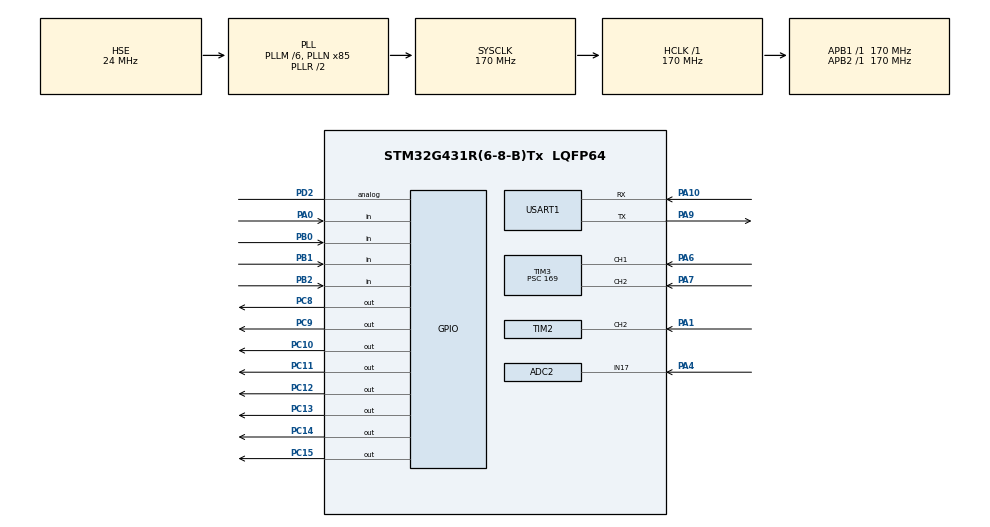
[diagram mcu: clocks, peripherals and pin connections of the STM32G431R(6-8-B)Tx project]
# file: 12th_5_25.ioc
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ADC2.Channel-0\#ChannelRegularConversion=ADC_CHANNEL_17
ADC2.NbrOfConversionFlag=1
ADC2.OffsetNumber-0\#ChannelRegularConversion=ADC_OFFSET_NONE
ADC2.Rank-0\#ChannelRegularConversion=1
ADC2.SamplingTime-0\#ChannelRegularConversion=ADC_SAMPLETIME_2CYCLES_5
Mcu.Family=STM32G4
Mcu.Name=STM32G431R(6-8-B)Tx
Mcu.Package=LQFP64
NVIC.PriorityGroup=NVIC_PRIORITYGROUP_4
NVIC.TIM1_UP_TIM16_IRQn=true\:0\:0\:false\:false\:true\:true\:true\:true
NVIC.TIM2_IRQn=true\:0\:0\:false\:false\:true\:true\:true\:true
NVIC.TIM3_IRQn=true\:0\:0\:false\:false\:true\:true\:true\:true
NVIC.USART1_IRQn=true\:0\:0\:false\:false\:true\:true\:true\:true
PA0.Signal=GPIO_Input
PA1.Signal=S_TIM2_CH2
PA10.Mode=Asynchronous
PA10.Signal=USART1_RX
PA4.Mode=IN17-Single-Ended
PA4.Signal=ADC2_IN17
PA6.Signal=S_TIM3_CH1
PA7.Signal=S_TIM3_CH2
PA9.Mode=Asynchronous
PA9.Signal=USART1_TX
PB0.Signal=GPIO_Input
PB1.Signal=GPIO_Input
PB2.Signal=GPIO_Input
PC10.Signal=GPIO_Output
PC11.Signal=GPIO_Output
PC12.Signal=GPIO_Output
PC13.Signal=GPIO_Output
PC14-OSC32_IN.Signal=GPIO_Output
PC15-OSC32_OUT.Signal=GPIO_Output
PC8.Signal=GPIO_Output
PC9.Signal=GPIO_Output
PD2.Signal=GPIO_Analog
PF0-OSC_IN.Mode=HSE-External-Oscillator
PF0-OSC_IN.Signal=RCC_OSC_IN
PF1-OSC_OUT.Mode=HSE-External-Oscillator
PF1-OSC_OUT.Signal=RCC_OSC_OUT
ProjectManager.HeapSize=0x200
ProjectManager.StackSize=0x400
ProjectManager.TargetToolchain=MDK-ARM V5.32
RCC.ADC12Freq_Value=170000000
RCC.AHBFreq_Value=170000000
RCC.APB1Freq_Value=170000000
RCC.APB1TimFreq_Value=170000000
RCC.APB2Freq_Value=170000000
RCC.APB2TimFreq_Value=170000000
RCC.CortexFreq_Value=170000000
RCC.EXTERNAL_CLOCK_VALUE=12288000
RCC.HCLKFreq_Value=170000000
RCC.HSE_VALUE=24000000
RCC.HSI48_VALUE=48000000
RCC.HSI_VALUE=16000000
RCC.LSE_VALUE=32768
RCC.PLLM=RCC_PLLM_DIV6
RCC.PLLN=85
RCC.PLLSourceVirtual=RCC_PLLSOURCE_HSE
RCC.SYSCLKFreq_VALUE=170000000
RCC.SYSCLKSource=RCC_SYSCLKSOURCE_PLLCLK
RCC.USBFreq_Value=170000000
RCC.VCOOutputFreq_Value=340000000
SH.S_TIM2_CH2.0=TIM2_CH2,Input_Capture2_from_TI2
SH.S_TIM3_CH1.0=TIM3_CH1,Input_Capture1_from_TI1
SH.S_TIM3_CH2.0=TIM3_CH2,Input_Capture2_from_TI2
TIM1.PeriodNoDither=9999
TIM1.Prescaler=169
TIM2.Channel-Input_Capture2_from_TI2=TIM_CHANNEL_2
TIM2.PeriodNoDither=65535
TIM2.Prescaler=169
TIM3.Channel-Input_Capture1_from_TI1=TIM_CHANNEL_1
TIM3.Channel-Input_Capture2_from_TI2=TIM_CHANNEL_2
TIM3.Prescaler=169
USART1.VirtualMode-Asynchronous=VM_ASYNC
VP_SYS_VS_DBSignals.Mode=DisableDeadBatterySignals
VP_TIM1_VS_ClockSourceINT.Mode=Internal
board=custom

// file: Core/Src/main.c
/* USER CODE BEGIN Header */
/**
  ******************************************************************************
  * @file           : main.c
  * @brief          : Main program body
  ******************************************************************************
  * @attention
  *
  * Copyright (c) 2023 STMicroelectronics.
  * All rights reserved.
  *
  * This software is licensed under terms that can be found in the LICENSE file
  * in the root directory of this software component.
  * If no LICENSE file comes with this software, it is provided AS-IS.
  *
  ******************************************************************************
  */
/* USER CODE END Header */
#include "main.h"
#include "adc.h"
#include "tim.h"
#include "usart.h"
#include "gpio.h"

/* USER CODE BEGIN Includes */
#include "lcd.h"
#include "stdio.h"
#include "string.h"
/* USER CODE END Includes */

/* USER CODE BEGIN PTD */
uint8_t line[10][21],	//LCD存字符
				Rx_buff//串口所接收字符
				;
char Trigger_mode='A',  //触发模式
		 Flag_interface=0,//LCD页面显示标志位
		 Key_state,//按键状态
		 Flag_ledproc;//LED控制标志位

float Angle_a,//角度
			Angle_b,//角度
			Voltage_pa4,//PA4所采集电压
			Angle_aa[5]={0},//角度a的近五次未排序角度
			Angle_bb[5]={0},//角度a的近五次未排序角度
			Angle_qa[5]={0},//角度a的近五次已排序角度
			Angle_qb[5]={0};//角度a的近五次已排序角度
int Key_presst[4]={0},//按键按下计数
		Angle_Pax=20,//角度变化量参数
		Angle_Pbx=20,//角度变化量参数
		Angle_ax,//角度变化量
		Angle_bx,//角度变化量
		Frequ_Pf=1000;//频率参数
/* USER CODE END PTD */

void SystemClock_Config(void);
/* USER CODE BEGIN PFP */

float Voltage_gethadc2(void)
{
	float Value;
	Value=HAL_ADC_GetValue(&hadc2);
	HAL_ADC_Start_IT(&hadc2);
	return Value*3.3f/4096;
}

uint16_t TIM3_IC1_Value1,TIM3_IC1_Value2;
uint16_t TIM3_IC1_High,TIM3_IC1_Low;
float TIM3_IC1_Duty;
uint8_t TIM3_IC1_Number;

uint16_t TIM3_IC2_Value1,TIM3_IC2_Value2;
uint16_t TIM3_IC2_High,TIM3_IC2_Low;
float TIM3_IC2_Duty;
uint8_t TIM3_IC2_Number;

uint32_t TIM2_IC2_Value1,TIM2_IC2_Value2;
uint32_t TIM2_IC2_Fre;
uint8_t TIM2_IC2_Number;
//void HAL_TIM_IC_CaptureCallback(TIM_HandleTypeDef *htim)
//{
//	if(htim==&htim3 && htim->Channel == HAL_TIM_ACTIVE_CHANNEL_1)
//	{
//		Frequ_pa6=__HAL_TIM_GetCounter(&htim3);
//		__HAL_TIM_SetCounter(&htim3,0);
//		HAL_TIM_IC_Start_IT(&htim3,TIM_CHANNEL_1);
//		Frequ_pa6=1000000/Frequ_pa6;
//	}
//
//	if(htim==&htim3 && htim->Channel == HAL_TIM_ACTIVE_CHANNEL_2)
//	{
//		Frequ_pa7=__HAL_TIM_GetCounter(&htim3);
//		__HAL_TIM_SetCounter(&htim3,0);
//		HAL_TIM_IC_Start_IT(&htim3,TIM_CHANNEL_2);
//		Frequ_pa7=1000000/Frequ_pa7;
//	}
//}

void HAL_TIM_IC_CaptureCallback(TIM_HandleTypeDef *htim)
{
    if(htim->Instance == TIM2)
    {
        if(htim->Channel == HAL_TIM_ACTIVE_CHANNEL_2)
        {
            if(TIM2_IC2_Number == 0)
            {
                TIM2_IC2_Value1 = __HAL_TIM_GET_COMPARE(htim,TIM_CHANNEL_2);
                TIM2_IC2_Number = 1;
            }
            else if(TIM2_IC2_Number == 1)
            {
                TIM2_IC2_Value2 = __HAL_TIM_GET_COMPARE(htim,TIM_CHANNEL_2);
                if(TIM2_IC2_Value1 > TIM2_IC2_Value2)
                    TIM2_IC2_Fre = 1000000 / ((0xFFFF - TIM2_IC2_Value1) + TIM2_IC2_Value2);
                else
                    TIM2_IC2_Fre = 1000000 / (TIM2_IC2_Value2 - TIM2_IC2_Value1);
                TIM2_IC2_Number = 0;
            }
        }
    }
    if(htim->Instance == TIM3)
    {
        if(htim->Channel == HAL_TIM_ACTIVE_CHANNEL_1)
        {
            if(TIM3_IC1_Number == 0)
            {
                TIM3_IC1_Value1 = __HAL_TIM_GET_COMPARE(htim,TIM_CHANNEL_1);
                __HAL_TIM_SET_CAPTUREPOLARITY(htim,TIM_CHANNEL_1,TIM_INPUTCHANNELPOLARITY_FALLING);
                TIM3_IC1_Number = 1;
            }
            else if(TIM3_IC1_Number == 1)
            {
                TIM3_IC1_Value2 = __HAL_TIM_GET_COMPARE(htim,TIM_CHANNEL_1);
                __HAL_TIM_SET_CAPTUREPOLARITY(htim,TIM_CHANNEL_1,TIM_INPUTCHANNELPOLARITY_RISING);
                if(TIM3_IC1_Value1 > TIM3_IC1_Value2)
                    TIM3_IC1_High = (0xFFFF - TIM3_IC1_Value1) + TIM3_IC1_Value2;
                else
                    TIM3_IC1_High = TIM3_IC1_Value2 - TIM3_IC1_Value1;
                TIM3_IC1_Value1 = TIM3_IC1_Value2;
                TIM3_IC1_Number = 2;
            }
            else if(TIM3_IC1_Number == 2)
            {
                TIM3_IC1_Value2 = __HAL_TIM_GET_COMPARE(htim,TIM_CHANNEL_1);
                if(TIM3_IC1_Value1 > TIM3_IC1_Value2)
                    TIM3_IC1_Low = (0xFFFF - TIM3_IC1_Value1) + TIM3_IC1_Value2;
                else
                    TIM3_IC1_Low = TIM3_IC1_Value2 - TIM3_IC1_Value1;
                TIM3_IC1_Duty = TIM3_IC1_High * 1.0 / (TIM3_IC1_High + TIM3_IC1_Low);
                TIM3_IC1_Number = 0;
            }
        }
        if(htim->Channel == HAL_TIM_ACTIVE_CHANNEL_2)
        {
            if(TIM3_IC2_Number == 0)
            {
                TIM3_IC2_Value1 = HAL_TIM_ReadCapturedValue(htim,TIM_CHANNEL_2);
                __HAL_TIM_SET_CAPTUREPOLARITY(htim,TIM_CHANNEL_2,TIM_INPUTCHANNELPOLARITY_FALLING);
                TIM3_IC2_Number = 1;
            }
            else if(TIM3_IC2_Number == 1)
            {
                TIM3_IC2_Value2 = HAL_TIM_ReadCapturedValue(htim,TIM_CHANNEL_2);
                __HAL_TIM_SET_CAPTUREPOLARITY(htim,TIM_CHANNEL_2,TIM_INPUTCHANNELPOLARITY_RISING);

                if(TIM3_IC2_Value1 > TIM3_IC2_Value2)
                    TIM3_IC2_High = (0xFFFF - TIM3_IC2_Value1) + TIM3_IC2_Value2;
                else
                    TIM3_IC2_High = TIM3_IC2_Value2 - TIM3_IC2_Value1;
                TIM3_IC2_Value1 = TIM3_IC2_Value2;
                TIM3_IC2_Number = 2;
            }
            else if(TIM3_IC2_Number == 2)
            {
                TIM3_IC2_Value2 = HAL_TIM_ReadCapturedValue(htim,TIM_CHANNEL_2);

                if(TIM3_IC2_Value1 > TIM3_IC2_Value2)
                    TIM3_IC2_Low = (0xFFFF - TIM3_IC2_Value1) + TIM3_IC2_Value2;
                else
                    TIM3_IC2_Low = TIM3_IC2_Value2 - TIM3_IC2_Value1;
                TIM3_IC2_Duty = TIM3_IC2_High * 1.0 / (TIM3_IC2_High + TIM3_IC2_Low);
                TIM3_IC2_Number = 0;
            }
        }
    }
}

//void Lcd_print(void)
//{
//	sprintf((char *)line[0],"     Voltage:%.2f     ",Voltage_gethadc2());
//	sprintf((char *)line[1]," Frequ_pa6:%dHz      ",Frequ_pa6);
//	sprintf((char *)line[2]," Frequ_pa7:%dHz      ",Frequ_pa7);
//	sprintf((char *)line[3],"TIM3_CH1_DUTY:%.2f   ",TIM3_IC1_Duty);
//	sprintf((char *)line[4],"TIM3IC1Value1:%d ",TIM3_IC1_Value1);
//
//	sprintf((char *)line[5],"TIM3_IC1_High:%d    ",TIM3_IC1_High);
//	sprintf((char *)line[6],"TIM3_IC1_Low:%d     ",TIM3_IC1_Low);
//	sprintf((char *)line[7],"TIM3_CH2_DUTY:%.2f   ",TIM3_IC2_Duty);
//	sprintf((char *)line[8],"TIM3IC1Value2:%d   ",TIM3_IC1_Value2);
//	sprintf((char *)line[9],"                    ");
//}

void Data_interface(void)
{
	sprintf((char *)line[0],"                    ");
	sprintf((char *)line[1],"        DATA        ");
	sprintf((char *)line[2],"   a:%.1f    %.2f    ",Angle_a,TIM3_IC1_Duty);
	sprintf((char *)line[3],"   b:%.1f    %.2f    ",Angle_b,TIM3_IC2_Duty);
	sprintf((char *)line[4],"   f:%dHz            ",TIM2_IC2_Fre);

	sprintf((char *)line[5],"                    ");
	sprintf((char *)line[6],"   ax:%d             ",Angle_ax);
	sprintf((char *)line[7],"   bx:%d             ",Angle_bx);
	sprintf((char *)line[8],"   mode:%c           ",Trigger_mode);
	sprintf((char *)line[9],"                    ");
}

void Parameter_interface(void)
{
	sprintf((char *)line[0],"                    ");
	sprintf((char *)line[1],"        PARA        ");
	sprintf((char *)line[2],"   Pax:%d            ",Angle_Pax);
	sprintf((char *)line[3],"   Pbx:%d            ",Angle_Pbx);
	sprintf((char *)line[4],"   Pf:%d             ",Frequ_Pf);

	sprintf((char *)line[5],"                    ");
	sprintf((char *)line[6],"                    ");
	sprintf((char *)line[7],"                    ");
	sprintf((char *)line[8],"                    ");
	sprintf((char *)line[9],"                    ");
}

void Lcd_dis(void)
{
	for(int i=0;i<10;i++)
	LCD_DisplayStringLine(i*24,line[i]);
//	LCD_DisplayStringLine(0,line[3]);
}

char Key_scan(void)
{
	if(HAL_GPIO_ReadPin(GPIOB,GPIO_PIN_0)==0)Key_presst[0]++;
	else if(HAL_GPIO_ReadPin(GPIOB,GPIO_PIN_0)==1 && Key_presst[0]>=5){Key_presst[0]=0;return 1;}
	else if(HAL_GPIO_ReadPin(GPIOB,GPIO_PIN_1)==0)Key_presst[1]++;
	else if(HAL_GPIO_ReadPin(GPIOB,GPIO_PIN_1)==1 && Key_presst[1]>=5){Key_presst[1]=0;return 2;}
	else if(HAL_GPIO_ReadPin(GPIOB,GPIO_PIN_2)==0)Key_presst[2]++;
	else if(HAL_GPIO_ReadPin(GPIOB,GPIO_PIN_2)==1 && Key_presst[2]>=5){Key_presst[2]=0;return 3;}
	else if(HAL_GPIO_ReadPin(GPIOA,GPIO_PIN_0)==0)Key_presst[3]++;
	else if(HAL_GPIO_ReadPin(GPIOA,GPIO_PIN_0)==1 && Key_presst[3]>=5){Key_presst[3]=0;return 4;}
	else Key_presst[0]=0,Key_presst[1]=0,Key_presst[2]=0,Key_presst[3]=0;
	return 0;
}

void Led_control(uint8_t num,uint8_t state)
{
	if(state)HAL_GPIO_WritePin(GPIOC,(0x01<<7)<<num,GPIO_PIN_RESET);
	else HAL_GPIO_WritePin(GPIOC,(0x01<<7)<<num,GPIO_PIN_SET);
}

void Led_proc(void)
{
//	if(Flag_ledproc)
//	{

		if(Angle_ax>Angle_Pax)Led_control(1,1);
		else Led_control(1,0);
		if(Angle_bx>Angle_Pbx)Led_control(2,1);
		else Led_control(2,0);
		if(TIM2_IC2_Fre>Frequ_Pf)Led_control(3,1);
		else Led_control(3,0);
		if(Trigger_mode=='A')Led_control(4,1);
		else Led_control(4,0);
		if((90.0f+Angle_b-Angle_a)<10)Led_control(5,1);
		else Led_control(5,0);
		Led_control(6,0);
		Led_control(7,0);
		Led_control(8,0);
		HAL_GPIO_WritePin(GPIOD,GPIO_PIN_2,GPIO_PIN_SET);
		HAL_GPIO_WritePin(GPIOD,GPIO_PIN_2,GPIO_PIN_RESET);
//		Flag_ledproc=0;
//	}
}
/* USER CODE END PFP */

/* USER CODE BEGIN 0 */

void HAL_TIM_PeriodElapsedCallback(TIM_HandleTypeDef *htim)
{
	static float Change_num;
	if(htim==&htim1)
	{
		Key_state=Key_scan();
		if(Key_state==1)Flag_interface=!Flag_interface;
		else if(Key_state==2)
		{
			Angle_Pax=(Angle_Pax=Angle_Pax+10)>60?0:Angle_Pax;
			Angle_Pbx=(Angle_Pbx=Angle_Pbx+10)>60?0:Angle_Pbx;
		}
		else if(Key_state==3 && Flag_interface)Frequ_Pf=(Frequ_Pf=Frequ_Pf+1000)>10000?0:Frequ_Pf;
		else if(Key_state==3 && !Flag_interface)
		{
			if(Trigger_mode=='A')Trigger_mode='B';
			else if(Trigger_mode=='B')Trigger_mode='A';
		}
		else if(Key_state==4 && Trigger_mode=='A')
		{
			if(TIM3_IC1_Duty>=0.1f && TIM3_IC1_Duty<=0.9f)
				Angle_a=(180.0f/80.0f*(TIM3_IC1_Duty-0.1f))*100.0f;
			else if(TIM3_IC1_Duty>0.9f)Angle_a=180.0f;
			else if(TIM3_IC1_Duty<0.1f)Angle_a=0.0f;

			for(char i=4;i>0;i--)
			Angle_aa[i]=Angle_aa[i-1];
			Angle_aa[0]=Angle_a;

			Angle_ax=__fabs(Angle_aa[0]-Angle_aa[1]);

			for(char i=0;i<5;i++)
			Angle_qa[i]=Angle_aa[i];

			for(char i=0;i<4;i++)
			for(char j=0;j<4-i;j++)
			{
				if(Angle_qa[j]>Angle_qa[j+1])
				{
					Change_num=Angle_qa[j];
					Angle_qa[j]=Angle_qa[j+1];
					Angle_qa[j+1]=Change_num;
				}
			}

			if(TIM3_IC2_Duty>=0.1f && TIM3_IC2_Duty<=0.9f)
				Angle_b=(90.0f/80.0f*(TIM3_IC2_Duty-0.1f))*100.0f;
			else if(TIM3_IC2_Duty>0.9f)Angle_b=90.0f;
			else if(TIM3_IC2_Duty<0.1f)Angle_b=0.0f;

			for(char i=4;i>0;i--)
			Angle_bb[i]=Angle_bb[i-1];
			Angle_bb[0]=Angle_b;

			Angle_bx=__fabs(Angle_bb[0]-Angle_bb[1]);

			for(char i=0;i<5;i++)
			Angle_qb[i]=Angle_bb[i];

			for(char i=0;i<4;i++)
			for(char j=0;j<4-i;j++)
			{
				if(Angle_qb[j]>Angle_qb[j+1])
				{
					Change_num=Angle_qb[j];
					Angle_qb[j]=Angle_qb[j+1];
					Angle_qb[j+1]=Change_num;
				}
			}
		}

	}
}

void HAL_UART_RxCpltCallback(UART_HandleTypeDef *huart)
{
	static char Rx_state=0;
	char Tx_buff[100];
	if(huart==&huart1)
	{
		if(Rx_buff=='a' && Rx_state==0)Rx_state=1;
		else if(Rx_buff=='b' && Rx_state==0)Rx_state=2;
		else if(Rx_buff=='?' && Rx_state==1)
		{
			Rx_state=0;
			sprintf((char *)Tx_buff,"a:%.1f\r\n",Angle_a);
			HAL_UART_Transmit_IT(&huart1,(uint8_t *)Tx_buff,strlen(Tx_buff));
		}
		else if(Rx_buff=='?' && Rx_state==2)
		{
			Rx_state=0;
			sprintf((char *)Tx_buff,"b:%.1f\r\n",Angle_b);
			HAL_UART_Transmit_IT(&huart1,(uint8_t *)Tx_buff,strlen(Tx_buff));
		}
		else if(Rx_buff=='a' && Rx_state==1)Rx_state=3;
		else if(Rx_buff=='?' && Rx_state==3)
		{
			Rx_state=0;
			sprintf((char *)Tx_buff,"aa:%.1f-%.1f-%.1f-%.1f-%.1f\r\n",Angle_aa[0],Angle_aa[1],Angle_aa[2],Angle_aa[3],Angle_aa[4]);
			HAL_UART_Transmit_IT(&huart1,(uint8_t *)Tx_buff,strlen(Tx_buff));
		}
		else if(Rx_buff=='b' && Rx_state==2)Rx_state=4;
		else if(Rx_buff=='?' && Rx_state==4)
		{
			Rx_state=0;
			sprintf((char *)Tx_buff,"bb:%.1f-%.1f-%.1f-%.1f-%.1f\r\n",Angle_bb[0],Angle_bb[1],Angle_bb[2],Angle_bb[3],Angle_bb[4]);
			HAL_UART_Transmit_IT(&huart1,(uint8_t *)Tx_buff,strlen(Tx_buff));
		}
		else if(Rx_buff=='q')Rx_state=5;
		else if(Rx_buff=='a' && Rx_state==5)Rx_state=6;
		else if(Rx_buff=='b' && Rx_state==5)Rx_state=7;
		else if(Rx_buff=='?' && Rx_state==6)
		{
			Rx_state=0;
			sprintf((char *)Tx_buff,"qa:%.1f-%.1f-%.1f-%.1f-%.1f\r\n",Angle_qa[0],Angle_qa[1],Angle_qa[2],Angle_qa[3],Angle_qa[4]);
			HAL_UART_Transmit_IT(&huart1,(uint8_t *)Tx_buff,strlen(Tx_buff));
		}
		else if(Rx_buff=='?' && Rx_state==7)
		{
			Rx_state=0;
			sprintf((char *)Tx_buff,"qb:%.1f-%.1f-%.1f-%.1f-%.1f\r\n",Angle_qb[0],Angle_qb[1],Angle_qb[2],Angle_qb[3],Angle_qb[4]);
			HAL_UART_Transmit_IT(&huart1,(uint8_t *)Tx_buff,strlen(Tx_buff));
		}
		else
		{
			Rx_state=0;
			sprintf((char *)Tx_buff,"error\r\n");
			HAL_UART_Transmit_IT(&huart1,(uint8_t *)Tx_buff,strlen(Tx_buff));
		}
		HAL_UART_Receive_IT(&huart1,(uint8_t *)&Rx_buff,1);
	}
}

/* USER CODE END 0 */

int main(void)
{

  /* MCU Configuration--------------------------------------------------------*/

  /* Reset of all peripherals, Initializes the Flash interface and the Systick. */
  HAL_Init();

  /* Configure the system clock */
  SystemClock_Config();

  /* Initialize all configured peripherals */
  MX_GPIO_Init();
  MX_ADC2_Init();
  MX_TIM2_Init();
  MX_TIM3_Init();
  MX_USART1_UART_Init();
  MX_TIM1_Init();
  /* USER CODE BEGIN 2 */
	LCD_Init();
	LCD_SetBackColor(Black);
	LCD_SetTextColor(White);
//	HAL_TIM_PWM_Start(&htim2,TIM_CHANNEL_4);
//	__HAL_TIM_SetCompare(&htim2,TIM_CHANNEL_4,500);
	HAL_TIM_IC_Start_IT(&htim3,TIM_CHANNEL_2);
	HAL_TIM_IC_Start_IT(&htim3,TIM_CHANNEL_1);
	HAL_TIM_IC_Start_IT(&htim2,TIM_CHANNEL_2);
	HAL_TIM_Base_Start_IT(&htim1);
	HAL_UART_Receive_IT(&huart1,(uint8_t *)&Rx_buff,1);
	HAL_GPIO_WritePin(GPIOD,GPIO_PIN_2,GPIO_PIN_RESET);
	for(char i=1;i<9;i++)
	Led_control(i,0);
	HAL_GPIO_WritePin(GPIOD,GPIO_PIN_2,GPIO_PIN_SET);

  /* USER CODE END 2 */

  /* Infinite loop */
  while (1)
  {

    /* USER CODE BEGIN 3 */
		if(Flag_interface==0)Data_interface();
		else if(Flag_interface==1)Parameter_interface();
		Lcd_dis();
		Led_proc();
  }
  /* USER CODE END 3 */
}

void SystemClock_Config(void)
{
  RCC_OscInitTypeDef RCC_OscInitStruct = {0};
  RCC_ClkInitTypeDef RCC_ClkInitStruct = {0};

  /** Configure the main internal regulator output voltage
  */
  HAL_PWREx_ControlVoltageScaling(PWR_REGULATOR_VOLTAGE_SCALE1_BOOST);

  /** Initializes the RCC Oscillators according to the specified parameters
  * in the RCC_OscInitTypeDef structure.
  */
  RCC_OscInitStruct.OscillatorType = RCC_OSCILLATORTYPE_HSE;
  RCC_OscInitStruct.HSEState = RCC_HSE_ON;
  RCC_OscInitStruct.PLL.PLLState = RCC_PLL_ON;
  RCC_OscInitStruct.PLL.PLLSource = RCC_PLLSOURCE_HSE;
  RCC_OscInitStruct.PLL.PLLM = RCC_PLLM_DIV6;
  RCC_OscInitStruct.PLL.PLLN = 85;
  RCC_OscInitStruct.PLL.PLLP = RCC_PLLP_DIV2;
  RCC_OscInitStruct.PLL.PLLQ = RCC_PLLQ_DIV2;
  RCC_OscInitStruct.PLL.PLLR = RCC_PLLR_DIV2;
  if (HAL_RCC_OscConfig(&RCC_OscInitStruct) != HAL_OK)
  {
    Error_Handler();
  }

  /** Initializes the CPU, AHB and APB buses clocks
  */
  RCC_ClkInitStruct.ClockType = RCC_CLOCKTYPE_HCLK|RCC_CLOCKTYPE_SYSCLK
                              |RCC_CLOCKTYPE_PCLK1|RCC_CLOCKTYPE_PCLK2;
  RCC_ClkInitStruct.SYSCLKSource = RCC_SYSCLKSOURCE_PLLCLK;
  RCC_ClkInitStruct.AHBCLKDivider = RCC_SYSCLK_DIV1;
  RCC_ClkInitStruct.APB1CLKDivider = RCC_HCLK_DIV1;
  RCC_ClkInitStruct.APB2CLKDivider = RCC_HCLK_DIV1;

  if (HAL_RCC_ClockConfig(&RCC_ClkInitStruct, FLASH_LATENCY_4) != HAL_OK)
  {
    Error_Handler();
  }
}

void Error_Handler(void)
{
  __disable_irq();
  while (1)
  {
  }
}
